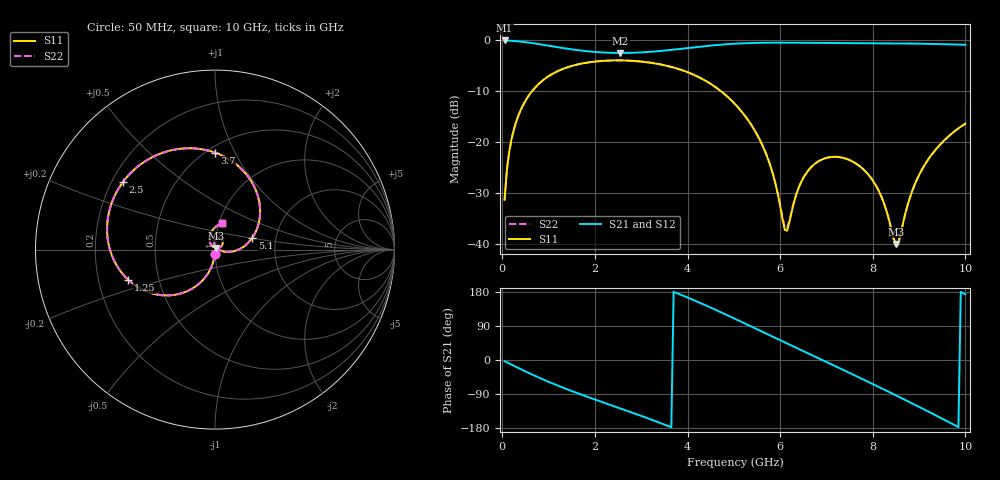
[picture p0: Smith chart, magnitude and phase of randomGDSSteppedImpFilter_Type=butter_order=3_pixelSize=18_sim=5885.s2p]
! freq	dB(S11)	phase(S11)	dB(S12)	phase(S12)
!  dB(S21)	phase(S21)	dB(S22)	phase(S22)
!S-par simulation data
#  GHz  S  DB  R 50
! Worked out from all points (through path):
!   200 points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, 50 MHz to 10 GHz, reference 50 ohm
!   highest |S21| = -0.01 dB at 50 MHz (marker M1); lowest = -2.5 dB at 2.55 GHz (marker M2)
!   group delay of S21, straight-line fit = 149 ps
!   lowest |S11| = -40.0 dB at 8.5 GHz (marker M3), VSWR 1.02, Z = 50.4 + j0.935 ohm
!   |S11| at or under -10 dB: start of sweep to 641.2 MHz; 4.724 GHz to end of sweep
!   |S22| runs from -40.5 to -3.9 dB; largest |S21 - S12| = 0
!   S11 on the Smith chart (normalised r, x): 50 MHz: 1.00, -0.05; 1.25 GHz: 0.33, -0.15; 2.5 GHz: 0.24, +0.31; 3.7 GHz: 0.55, +0.84; 5.1 GHz: 1.51, +0.21; 10 GHz: 1.04, +0.31
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0.05  -31.35 -93.1  -0.01 -3.1  -0.01 -3.1  -31.35 -93.1
0.15  -21.86 -99.5  -0.04 -9.2  -0.04 -9.2  -21.86 -99.5
0.4  -13.64 -114.8  -0.23 -24.3  -0.23 -24.3  -13.64 -114.8
1.25  -5.82 -160.7  -1.42 -70.1  -1.42 -70.1  -5.82 -160.7
1.75  -4.49 176.1  -2.05 -93.3  -2.05 -93.3  -4.49 176.2
2.5  -3.92 143.8  -2.46 -125.7  -2.46 -125.7  -3.92 143.9
2.55  -3.93 141.7  -2.46 -127.9  -2.46 -127.9  -3.93 141.7
3.4  -4.69 104.3  -2.08 -165.7  -2.08 -165.7  -4.69 104.3
3.7  -5.34 90.1  -1.81 180.0  -1.81 180.0  -5.34 90.2
4.4  -7.99 54.8  -1.11 143.7  -1.11 143.7  -7.99 54.9
5.05  -12.75 20.1  -0.63 107.2  -0.63 107.2  -12.75 20.3
5.1  -13.26 17.4  -0.60 104.3  -0.60 104.3  -13.26 17.7
5.7  -22.40 -10.3  -0.45 69.6  -0.45 69.6  -22.38 -9.6
6.1  -37.23 29.7  -0.44 46.4  -0.44 46.4  -36.73 30.6
6.7  -24.66 91.3  -0.48 12.0  -0.48 12.0  -24.64 90.6
7.65  -24.29 44.6  -0.52 -42.9  -0.52 -42.9  -24.28 44.1
8.05  -28.27 27.4  -0.54 -66.4  -0.54 -66.4  -28.27 26.7
8.35  -35.22 29.9  -0.56 -84.3  -0.56 -84.3  -35.32 28.3
8.5  -40.04 68.8  -0.58 -93.3  -0.58 -93.3  -40.46 67.9
9.05  -25.59 123.5  -0.65 -126.8  -0.65 -126.8  -25.62 124.2
9.55  -19.59 99.4  -0.74 -158.0  -0.74 -158.0  -19.60 99.9
10  -16.36 74.3  -0.86 173.1  -0.86 173.1  -16.37 74.7
